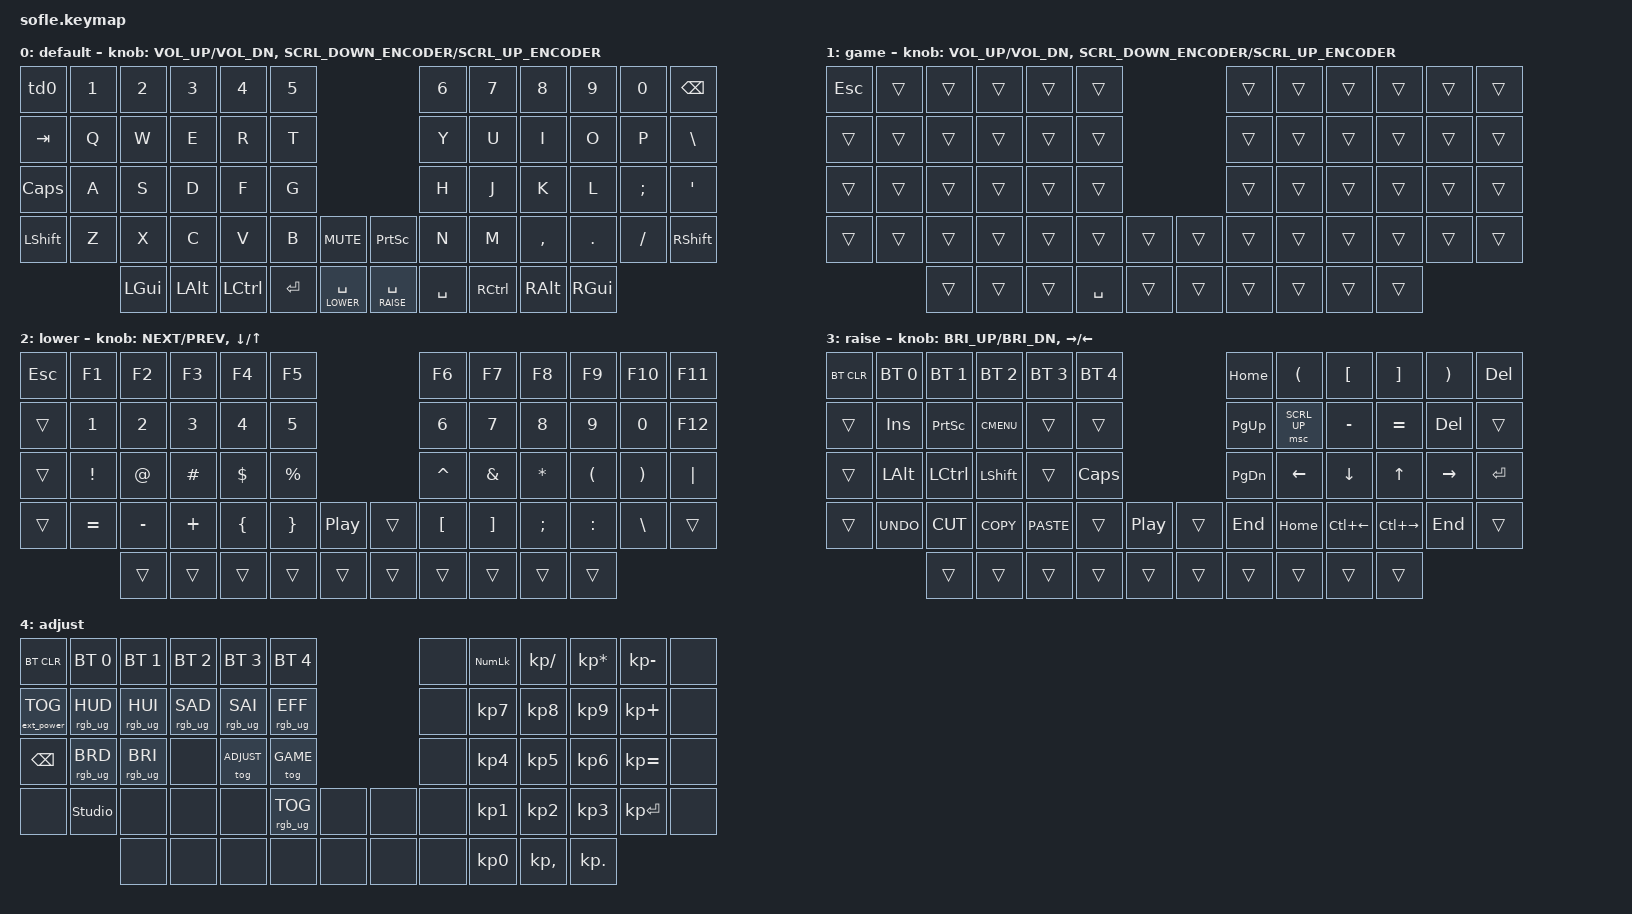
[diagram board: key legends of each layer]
/*
 * Copyright (c) 2020 The ZMK Contributors
 *
 * SPDX-License-Identifier: MIT
 */

#include <behaviors.dtsi>
#include <dt-bindings/zmk/keys.h>
#include <dt-bindings/zmk/bt.h>
#include <dt-bindings/zmk/rgb.h>
#include <dt-bindings/zmk/ext_power.h>
#include <dt-bindings/zmk/pointing.h>

#define BASE 0
#define GAME 1
#define LOWER 2
#define RAISE 3
#define ADJUST 4

#define ZMK_MOUSE_SCRL_VAL_ENCODER 128
#define SCRL_UP_ENCODER MOVE_Y(ZMK_MOUSE_SCRL_VAL_ENCODER)
#define SCRL_DOWN_ENCODER MOVE_Y(-ZMK_MOUSE_SCRL_VAL_ENCODER)

/ {

   // Activate ADJUST layer by pressing raise and lower
    conditional_layers {
        compatible = "zmk,conditional-layers";
        adjust_layer {
            if-layers = <LOWER RAISE>;
            then-layer = <ADJUST>;
        };
    };

    behaviors {
        mt0: mod_tap_0 {
            compatible = "zmk,behavior-hold-tap";
            #binding-cells = <2>;
            flavor = "hold-preferred";
            tapping-term-ms = <100>;
            bindings = <&kp>, <&kp>;
        };
        td0: tap_dance_0 {
            compatible = "zmk,behavior-tap-dance";
            #binding-cells = <0>;
            tapping-term-ms = <100>;
            bindings = <&mt0 ESC GRAVE>, <&kp ESC>;
        };
        inc_dec_msc: sensor_rotate_msc {
            compatible = "zmk,behavior-sensor-rotate-var";
            #sensor-binding-cells = <2>;
            tap-ms = <16>;
            bindings = <&msc>, <&msc>;
        };
        mlt: mod_layer_tap {
            compatible = "zmk,behavior-hold-tap";
            #binding-cells = <2>;
            flavor = "hold-preferred";
            tapping-term-ms = <200>;
            quick-tap-ms = <125>;
            bindings = <&mo>, <&kp>;
        };
    };

    keymap {
        compatible = "zmk,keymap";

        default_layer {
            display-name = "default";
// ------------------------------------------------------------------------------------------------------------
// |   `   |  1  |  2  |  3   |  4   |  5   |                   |  6   |  7    |  8    |  9   |   0   |       |
// | TAB   |  Q  |  W  |  E   |  R   |  T   |                   |  Y   |  U    |  I    |  O   |   P   | BKSPC |
// | CAPS  |  A  |  S  |  D   |  F   |  G   |                   |  H   |  J    |  K    |  L   |   ;   |   '   |
// | SHIFT |  Z  |  X  |  C   |  V   |  B   |  MUTE  |  | PSCRN |  N   |  M    |  ,    |  .   |   /   | SHIFT |
//               | GUI | ALT  | CTRL | ENTER | LOWER |  | RAISE | SPACE| CTRL  | ALT   | GUI  |
            bindings = <
&td0      &kp N1 &kp N2   &kp N3   &kp N4    &kp N5                                         &kp N6     &kp N7    &kp N8    &kp N9   &kp N0   &kp BSPC
&kp TAB   &kp Q  &kp W    &kp E    &kp R     &kp T                                          &kp Y      &kp U     &kp I     &kp O    &kp P    &kp BSLH
&kp CAPS  &kp A  &kp S    &kp D    &kp F     &kp G                                          &kp H      &kp J     &kp K     &kp L    &kp SEMI &kp SQT
&kp LSHFT &kp Z  &kp X    &kp C    &kp V     &kp B      &kp C_MUTE        &kp PSCRN         &kp N      &kp M     &kp COMMA &kp DOT  &kp FSLH &kp RSHFT
                 &kp LGUI &kp LALT &kp LCTRL &kp RET    &mlt LOWER SPACE  &mlt RAISE SPACE  &kp SPACE  &kp RCTRL &kp RALT  &kp RGUI
            >;

            sensor-bindings = <&inc_dec_kp C_VOL_UP C_VOL_DN &inc_dec_msc SCRL_DOWN_ENCODER SCRL_UP_ENCODER>;
        };

        game_layer {
            display-name = "game";
            bindings = <
&kp ESC   &trans  &trans   &trans  &trans  &trans                           &trans  &trans   &trans  &trans  &trans  &trans
&trans    &trans  &trans   &trans  &trans  &trans                           &trans  &trans   &trans  &trans  &trans  &trans
&trans    &trans  &trans   &trans  &trans  &trans                           &trans  &trans   &trans  &trans  &trans  &trans
&trans    &trans  &trans   &trans  &trans  &trans       &trans &trans       &trans  &trans   &trans  &trans  &trans  &trans
                  &trans   &trans  &trans  &kp SPACE &trans       &trans    &trans  &trans   &trans  &trans
            >;

            sensor-bindings = <&inc_dec_kp C_VOL_UP C_VOL_DN &inc_dec_msc SCRL_DOWN_ENCODER SCRL_UP_ENCODER>;
        };

        lower_layer {
            display-name = "lower";
// TODO: Some binds are waiting for shifted keycode support.
// ------------------------------------------------------------------------------------------------------------
// |  ESC  |  F1 |  F2 |  F3  |  F4  |  F5  |                   |  F6  |  F7   |  F8   |  F9  |  F10  |  F11  |
// |       |  1  |  2  |  3   |  4   |  5   |                   |  6   |  7    |  8    |  9   |   0   |  F12  |
// |       |  !  |  @  |  #   |  $   |  %   |                   |  ^   |  &    |  *    |  (   |   )   |   |   |
// |       |  =  |  -  |  +   |  {   |  }   | PPAUSE |  |       |  [   |  ]    |  ;    |  :   |   \   |       |
//               |     |      |      |      |        |  |       |      |       |       |      |
            bindings = <
&kp ESC   &kp F1    &kp F2    &kp F3      &kp F4    &kp F5                      &kp F6    &kp F7   &kp F8    &kp F9    &kp F10   &kp F11
&trans    &kp N1    &kp N2    &kp N3      &kp N4    &kp N5                      &kp N6    &kp N7   &kp N8    &kp N9    &kp N0    &kp F12
&trans    &kp EXCL  &kp AT    &kp HASH    &kp DLLR  &kp PRCNT                   &kp CARET &kp AMPS &kp ASTRK &kp LPAR  &kp RPAR  &kp PIPE
&trans    &kp EQUAL &kp MINUS &kp PLUS    &kp LBRC  &kp RBRC  &kp C_PP  &trans  &kp LBKT  &kp RBKT &kp SEMI  &kp COLON &kp BSLH  &trans
                    &trans    &trans      &trans    &trans     &trans   &trans  &trans    &trans   &trans    &trans
            >;

            sensor-bindings = <&inc_dec_kp C_NEXT C_PREV &inc_dec_kp DOWN UP>;
        };

        raise_layer {
            display-name = "raise";
// ------------------------------------------------------------------------------------------------------------
// | BTCLR | BT1  | BT2  |  BT3  |  BT4  |  BT5 |                | HOME |   (  |   [   |  ]   |  )    | DEL   |
// |       | INS  | PSCR | GUI   |       |      |                | PGUP |      |   -   |  =   |       |       |
// |       | ALT  | CTRL | SHIFT |       | CAPS |                | PGDN |   <- |   v   |  ^   |  ->   | ENTER |
// |       | UNDO | CUT  | COPY  | PASTE |      | PPAS |  |      | END  | HOME | JLEFT | JRGT |  END  |       |
//                |      |       |       |      |      |  |      |      |      |       |      |
            bindings = <
&bt BT_CLR &bt BT_SEL 0 &bt BT_SEL 1 &bt BT_SEL 2 &bt BT_SEL 3 &bt BT_SEL 4                  &kp HOME  &kp LPAR       &kp LBKT      &kp RBKT       &kp RPAR            &kp DEL
&trans     &kp INS      &kp PSCRN    &kp K_CMENU  &trans       &trans                        &kp PG_UP &msc SCRL_UP   &kp MINUS     &kp EQUAL      &kp DEL             &trans
&trans     &kp LALT     &kp LCTRL    &kp LSHFT    &trans       &kp CLCK                      &kp PG_DN &kp LEFT       &kp DOWN      &kp UP         &kp RIGHT           &kp RET
&trans     &kp K_UNDO   &kp K_CUT    &kp K_COPY   &kp K_PASTE  &trans      &kp C_PP  &trans  &kp END   &kp HOME       &kp LC(LEFT)  &kp LC(RIGHT)  &kp END    &trans
                        &trans       &trans       &trans       &trans        &trans  &trans  &trans    &trans         &trans    &trans
            >;

            sensor-bindings = <&inc_dec_kp C_BRI_UP C_BRI_DN &inc_dec_kp RIGHT LEFT>;
        };

        adjust_layer {
// -----------------------------------------------------------------------------------------------------------------------------
// | BTCLR  |  BT1    |  BT2    |   BT3   |   BT4   |   BT5   |                   |      |      |       |      |       |       |
// | EXTPWR | RGB_HUD | RGB_HUI | RGB_SAD | RGB_SAI | RGB_EFF |                   |      |      |       |      |       |       |
// | BKSPC  | RGB_BRD | RGB_BRI |         | ADJUST  | GAME    |                   |      |      |       |      |       |       |
// |        | STUDIO  |         |         |         | RGB_TOG |        | |        |      |      |       |      |       |       |
//                    |         |         |         |         |        | |        |      |      |       |      |
            display-name = "adjust";
            bindings = <
&bt BT_CLR        &bt BT_SEL 0    &bt BT_SEL 1    &bt BT_SEL 2    &bt BT_SEL 3    &bt BT_SEL 4                            &none &kp KP_NUM &kp KP_DIVIDE &kp KP_MULTIPLY &kp KP_MINUS &none
&ext_power EP_TOG &rgb_ug RGB_HUD &rgb_ug RGB_HUI &rgb_ug RGB_SAD &rgb_ug RGB_SAI &rgb_ug RGB_EFF                         &none &kp KP_N7  &kp KP_N8     &kp KP_N9       &kp KP_PLUS &none
&kp BSPC          &rgb_ug RGB_BRD &rgb_ug RGB_BRI &none           &tog ADJUST     &tog GAME                               &none &kp KP_N4  &kp KP_N5     &kp KP_N6       &kp KP_EQUAL &none
&none             &studio_unlock  &none           &none           &none           &rgb_ug RGB_TOG        &none     &none  &none &kp KP_N1  &kp KP_N2     &kp KP_N3       &kp KP_ENTER &none
                                  &none           &none           &none           &none            &none           &none  &none &kp KP_N0  &kp KP_COMMA  &kp KP_DOT
            >;
        };
    };
};
